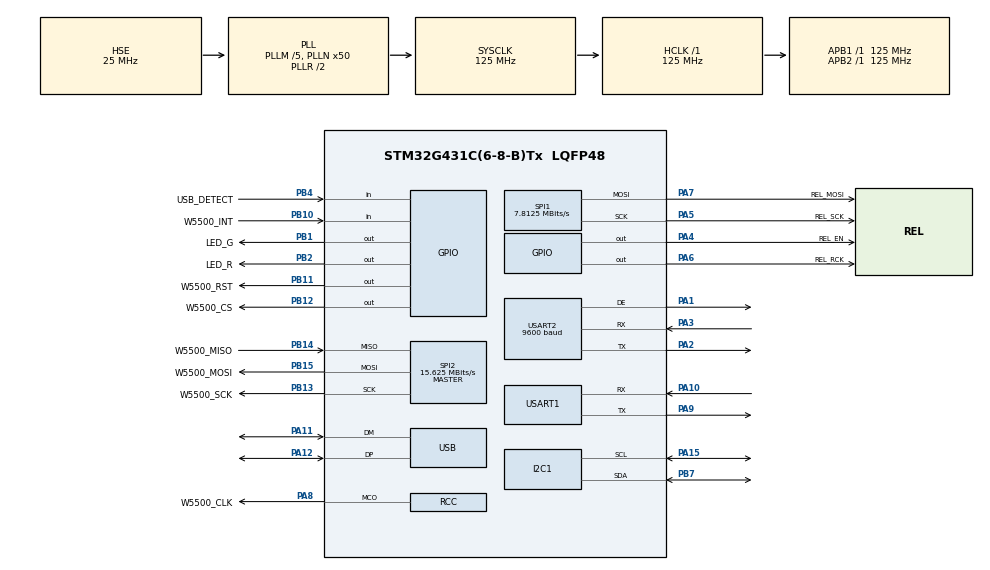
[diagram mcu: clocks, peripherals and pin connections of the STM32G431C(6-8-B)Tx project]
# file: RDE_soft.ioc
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CRC.DefaultPolynomialUse=DEFAULT_POLYNOMIAL_ENABLE
I2C1.Timing=0x20E2A4ED
Mcu.Family=STM32G4
Mcu.Name=STM32G431C(6-8-B)Tx
Mcu.Package=LQFP48
NVIC.PriorityGroup=NVIC_PRIORITYGROUP_4
NVIC.SPI1_IRQn=true\:0\:0\:false\:false\:true\:true\:true\:true
NVIC.SPI2_IRQn=true\:0\:0\:false\:false\:true\:true\:true\:true
NVIC.USB_HP_IRQn=true\:0\:0\:false\:false\:true\:true\:true\:true
NVIC.USB_LP_IRQn=true\:0\:0\:false\:false\:true\:true\:true\:true
PA1.Mode=Hardware Flow Control (RS485)
PA1.Signal=USART2_DE
PA10.Mode=Asynchronous
PA10.Signal=USART1_RX
PA11.Mode=Device
PA11.Signal=USB_DM
PA12.Mode=Device
PA12.Signal=USB_DP
PA13.Mode=Trace_Asynchronous_SW
PA13.Signal=SYS_JTMS-SWDIO
PA14.Mode=Trace_Asynchronous_SW
PA14.Signal=SYS_JTCK-SWCLK
PA15.GPIO_Speed=GPIO_SPEED_FREQ_MEDIUM
PA15.Mode=I2C
PA15.Signal=I2C1_SCL
PA2.Mode=Asynchronous
PA2.Signal=USART2_TX
PA3.Mode=Asynchronous
PA3.Signal=USART2_RX
PA4.GPIO_Label=REL_EN
PA4.Signal=GPIO_Output
PA5.GPIO_Label=REL_SCK
PA5.GPIO_Speed=GPIO_SPEED_FREQ_HIGH
PA5.Mode=TX_Only_Simplex_Unidirect_Master
PA5.Signal=SPI1_SCK
PA6.GPIO_Label=REL_RCK
PA6.Signal=GPIO_Output
PA7.GPIO_Label=REL_MOSI
PA7.GPIO_Speed=GPIO_SPEED_FREQ_HIGH
PA7.Mode=TX_Only_Simplex_Unidirect_Master
PA7.Signal=SPI1_MOSI
PA8.GPIO_Label=W5500_CLK
PA8.GPIO_Speed=GPIO_SPEED_FREQ_VERY_HIGH
PA8.Mode=Clock-out
PA8.Signal=RCC_MCO
PA9.Mode=Asynchronous
PA9.Signal=USART1_TX
PB1.GPIO_Label=LED_G
PB1.Signal=GPIO_Output
PB10.GPIO_Label=W5500_INT
PB10.Signal=GPIO_Input
PB11.GPIO_Label=W5500_RST
PB11.Signal=GPIO_Output
PB12.GPIO_Label=W5500_CS
PB12.Signal=GPIO_Output
PB13.GPIO_Label=W5500_SCK
PB13.GPIO_Speed=GPIO_SPEED_FREQ_VERY_HIGH
PB13.Mode=Full_Duplex_Master
PB13.Signal=SPI2_SCK
PB14.GPIO_Label=W5500_MISO
PB14.GPIO_Speed=GPIO_SPEED_FREQ_VERY_HIGH
PB14.Mode=Full_Duplex_Master
PB14.Signal=SPI2_MISO
PB15.GPIO_Label=W5500_MOSI
PB15.GPIO_Speed=GPIO_SPEED_FREQ_VERY_HIGH
PB15.Mode=Full_Duplex_Master
PB15.Signal=SPI2_MOSI
PB2.GPIO_Label=LED_R
PB2.Signal=GPIO_Output
PB3.Mode=Trace_Asynchronous_SW
PB3.Signal=SYS_JTDO-SWO
PB4.GPIO_Label=USB_DETECT
PB4.Signal=GPIO_Input
PB7.GPIO_Speed=GPIO_SPEED_FREQ_MEDIUM
PB7.Mode=I2C
PB7.Signal=I2C1_SDA
PF0-OSC_IN.Mode=HSE-External-Oscillator
PF0-OSC_IN.Signal=RCC_OSC_IN
PF1-OSC_OUT.Mode=HSE-External-Oscillator
PF1-OSC_OUT.Signal=RCC_OSC_OUT
ProjectManager.HeapSize=0x200
ProjectManager.StackSize=0x400
ProjectManager.TargetToolchain=STM32CubeIDE
RCC.ADC12Freq_Value=125000000
RCC.AHBFreq_Value=125000000
RCC.APB1Freq_Value=125000000
RCC.APB1TimFreq_Value=125000000
RCC.APB2Freq_Value=125000000
RCC.APB2TimFreq_Value=125000000
RCC.CK48CLockSelection=RCC_USBCLKSOURCE_HSI48
RCC.CortexFreq_Value=125000000
RCC.EXTERNAL_CLOCK_VALUE=12288000
RCC.HCLKFreq_Value=125000000
RCC.HSE_VALUE=25000000
RCC.HSI48_VALUE=48000000
RCC.HSI_VALUE=16000000
RCC.LSE_VALUE=32768
RCC.PLLM=RCC_PLLM_DIV5
RCC.PLLN=50
RCC.PLLQ=RCC_PLLQ_DIV4
RCC.PLLSourceVirtual=RCC_PLLSOURCE_HSE
RCC.RCC_MCO1Source=RCC_MCO1SOURCE_HSE
RCC.SYSCLKFreq_VALUE=125000000
RCC.SYSCLKSource=RCC_SYSCLKSOURCE_PLLCLK
RCC.USART1CLockSelection=RCC_USART1CLKSOURCE_SYSCLK
RCC.USART2CLockSelection=RCC_USART2CLKSOURCE_SYSCLK
RCC.USBFreq_Value=48000000
RCC.VCOOutputFreq_Value=250000000
SPI1.BaudRatePrescaler=SPI_BAUDRATEPRESCALER_16
SPI1.CalculateBaudRate=7.8125 MBits/s
SPI1.DataSize=SPI_DATASIZE_8BIT
SPI1.Direction=SPI_DIRECTION_2LINES
SPI1.Mode=SPI_MODE_MASTER
SPI1.VirtualType=VM_MASTER
SPI2.BaudRatePrescaler=SPI_BAUDRATEPRESCALER_8
SPI2.CalculateBaudRate=15.625 MBits/s
SPI2.DataSize=SPI_DATASIZE_8BIT
SPI2.Direction=SPI_DIRECTION_2LINES
SPI2.Mode=SPI_MODE_MASTER
SPI2.VirtualType=VM_MASTER
USART1.VirtualMode-Asynchronous=VM_ASYNC
USART2.BaudRate=9600
USART2.VirtualMode-Asynchronous=VM_ASYNC
USART2.VirtualMode-Hardware\ Flow\ Control\ (RS485)=VM_ASYNC
VP_CRC_VS_CRC.Mode=CRC_Activate
VP_SYS_VS_DBSignals.Mode=DisableDeadBatterySignals
board=custom

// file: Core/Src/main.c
/* USER CODE BEGIN Header */
/**
  ******************************************************************************
  * @file           : main.c
  * @brief          : Main program body
  ******************************************************************************
  * @attention
  *
  * Copyright (c) 2026 STMicroelectronics.
  * All rights reserved.
  *
  * This software is licensed under terms that can be found in the LICENSE file
  * in the root directory of this software component.
  * If no LICENSE file comes with this software, it is provided AS-IS.
  *
  ******************************************************************************
  */
/* USER CODE END Header */
#include "main.h"

/* USER CODE BEGIN Includes */
#include "tusb.h"
#include "scpi_def.h"
#include "usbtmc_app.h"
#include "relay/relay_ctrl.h"
#include "relay/relay_cal.h"
#include "net_config.h"
#include "w5500_net.h"
/* USER CODE END Includes */

CRC_HandleTypeDef hcrc;

I2C_HandleTypeDef hi2c1;

SPI_HandleTypeDef hspi1;
SPI_HandleTypeDef hspi2;

UART_HandleTypeDef huart1;
UART_HandleTypeDef huart2;

PCD_HandleTypeDef hpcd_USB_FS;

void SystemClock_Config(void);
static void MX_GPIO_Init(void);
static void MX_I2C1_Init(void);
static void MX_SPI1_Init(void);
static void MX_SPI2_Init(void);
static void MX_USART1_UART_Init(void);
static void MX_USART2_UART_Init(void);
static void MX_USB_PCD_Init(void);
static void MX_CRC_Init(void);

int main(void)
{

  /* MCU Configuration--------------------------------------------------------*/

  /* Reset of all peripherals, Initializes the Flash interface and the Systick. */
  HAL_Init();

  /* Configure the system clock */
  SystemClock_Config();

  /* Initialize all configured peripherals */
  MX_GPIO_Init();
  MX_I2C1_Init();
  MX_SPI1_Init();
  MX_SPI2_Init();
  MX_USART1_UART_Init();
  MX_USART2_UART_Init();
  MX_USB_PCD_Init();
  MX_CRC_Init();
  /* USER CODE BEGIN 2 */

  /* CRS: trim HSI48 via USB SOF – required for USB ±500 ppm clock accuracy */
  __HAL_RCC_CRS_CLK_ENABLE();
  RCC_CRSInitTypeDef crs_init = {0};
  crs_init.Prescaler             = RCC_CRS_SYNC_DIV1;
  crs_init.Source                = RCC_CRS_SYNC_SOURCE_USB;
  crs_init.Polarity              = RCC_CRS_SYNC_POLARITY_RISING;
  crs_init.ReloadValue           = __HAL_RCC_CRS_RELOADVALUE_CALCULATE(48000000, 1000);
  crs_init.ErrorLimitValue       = 34;
  crs_init.HSI48CalibrationValue = 32;
  HAL_RCCEx_CRSConfig(&crs_init);

  HAL_GPIO_WritePin(REL_EN_GPIO_Port, REL_EN_Pin, GPIO_PIN_RESET); /* relay PSU off – activate via relay_enable(true) */
  relay_init();
  SCPI_Main_Init();   /* init SCPI early so startup errors can be pushed to the queue */

  net_config_init();   /* load network config from NVM before w5500_net_init */
  relay_cal_init();    /* load decade calibration from NVM */

  tud_init(BOARD_TUD_RHPORT);
  tud_disconnect();   /* self-powered: do not pull D+ until VUSB detected */
  w5500_net_init();
  /* USER CODE END 2 */

  /* Infinite loop */
  while (1)
  {

    /* USER CODE BEGIN 3 */

    /* ── LED_G heartbeat – toggle every 500 ms (1 Hz blink) ── */
    static uint32_t led_tick = 0u;
    if (HAL_GetTick() - led_tick >= 500u) {
        led_tick = HAL_GetTick();
        HAL_GPIO_TogglePin(LED_G_GPIO_Port, LED_G_Pin);
    }

    /* ── LED_R error indicator – ON while SCPI error queue non-empty ── */
    /* Cleared automatically when SYST:ERR:NEXT? drains the queue or *CLS is sent */
    HAL_GPIO_WritePin(LED_R_GPIO_Port, LED_R_Pin,
                      SCPI_Main_HasErrors() ? GPIO_PIN_SET : GPIO_PIN_RESET);

    /* ── USB_DETECT – connect/disconnect D+ based on VUSB presence ── */
    /* 20 ms debounce: require stable signal before acting to avoid spurious
     * connect/disconnect on VBUS glitches. */
    static bool     usb_prev    = false;
    static bool     usb_stable  = false;
    static uint32_t usb_deb_ms  = 0;
    bool usb_raw = (HAL_GPIO_ReadPin(USB_DETECT_GPIO_Port, USB_DETECT_Pin) == GPIO_PIN_SET);
    if (usb_raw != usb_stable) {
        if (HAL_GetTick() - usb_deb_ms >= 20u) {
            usb_stable = usb_raw;
        }
    } else {
        usb_deb_ms = HAL_GetTick();
    }
    bool usb_now = usb_stable;

    if (usb_now && !usb_prev) {
        tud_connect();
    } else if (!usb_now && usb_prev) {
        tud_disconnect();
    }
    usb_prev = usb_now;

    /* ── USB tasks (only while VUSB present) ── */
    if (usb_now) {
        tud_task();
        usbtmc_app_task_iter();
    }

    SCPI_Main_Poll();
    w5500_net_task();

  }
  /* USER CODE END 3 */
}

void SystemClock_Config(void)
{
  RCC_OscInitTypeDef RCC_OscInitStruct = {0};
  RCC_ClkInitTypeDef RCC_ClkInitStruct = {0};

  /** Configure the main internal regulator output voltage
  */
  HAL_PWREx_ControlVoltageScaling(PWR_REGULATOR_VOLTAGE_SCALE1);

  /** Initializes the RCC Oscillators according to the specified parameters
  * in the RCC_OscInitTypeDef structure.
  */
  RCC_OscInitStruct.OscillatorType = RCC_OSCILLATORTYPE_HSI48|RCC_OSCILLATORTYPE_HSE;
  RCC_OscInitStruct.HSEState = RCC_HSE_ON;
  RCC_OscInitStruct.HSI48State = RCC_HSI48_ON;
  RCC_OscInitStruct.PLL.PLLState = RCC_PLL_ON;
  RCC_OscInitStruct.PLL.PLLSource = RCC_PLLSOURCE_HSE;
  RCC_OscInitStruct.PLL.PLLM = RCC_PLLM_DIV5;
  RCC_OscInitStruct.PLL.PLLN = 50;
  RCC_OscInitStruct.PLL.PLLP = RCC_PLLP_DIV2;
  RCC_OscInitStruct.PLL.PLLQ = RCC_PLLQ_DIV4;
  RCC_OscInitStruct.PLL.PLLR = RCC_PLLR_DIV2;
  if (HAL_RCC_OscConfig(&RCC_OscInitStruct) != HAL_OK)
  {
    Error_Handler();
  }

  /** Initializes the CPU, AHB and APB buses clocks
  */
  RCC_ClkInitStruct.ClockType = RCC_CLOCKTYPE_HCLK|RCC_CLOCKTYPE_SYSCLK
                              |RCC_CLOCKTYPE_PCLK1|RCC_CLOCKTYPE_PCLK2;
  RCC_ClkInitStruct.SYSCLKSource = RCC_SYSCLKSOURCE_PLLCLK;
  RCC_ClkInitStruct.AHBCLKDivider = RCC_SYSCLK_DIV1;
  RCC_ClkInitStruct.APB1CLKDivider = RCC_HCLK_DIV1;
  RCC_ClkInitStruct.APB2CLKDivider = RCC_HCLK_DIV1;

  if (HAL_RCC_ClockConfig(&RCC_ClkInitStruct, FLASH_LATENCY_4) != HAL_OK)
  {
    Error_Handler();
  }
  HAL_RCC_MCOConfig(RCC_MCO1, RCC_MCO1SOURCE_HSE, RCC_MCODIV_1);
}

static void MX_CRC_Init(void)
{

  hcrc.Instance = CRC;
  hcrc.Init.DefaultPolynomialUse = DEFAULT_POLYNOMIAL_ENABLE;
  hcrc.Init.DefaultInitValueUse = DEFAULT_INIT_VALUE_ENABLE;
  hcrc.Init.InputDataInversionMode = CRC_INPUTDATA_INVERSION_NONE;
  hcrc.Init.OutputDataInversionMode = CRC_OUTPUTDATA_INVERSION_DISABLE;
  hcrc.InputDataFormat = CRC_INPUTDATA_FORMAT_BYTES;
  if (HAL_CRC_Init(&hcrc) != HAL_OK)
  {
    Error_Handler();
  }

}

static void MX_I2C1_Init(void)
{

  hi2c1.Instance = I2C1;
  hi2c1.Init.Timing = 0x20E2A4ED;
  hi2c1.Init.OwnAddress1 = 0;
  hi2c1.Init.AddressingMode = I2C_ADDRESSINGMODE_7BIT;
  hi2c1.Init.DualAddressMode = I2C_DUALADDRESS_DISABLE;
  hi2c1.Init.OwnAddress2 = 0;
  hi2c1.Init.OwnAddress2Masks = I2C_OA2_NOMASK;
  hi2c1.Init.GeneralCallMode = I2C_GENERALCALL_DISABLE;
  hi2c1.Init.NoStretchMode = I2C_NOSTRETCH_DISABLE;
  if (HAL_I2C_Init(&hi2c1) != HAL_OK)
  {
    Error_Handler();
  }

  /** Configure Analogue filter
  */
  if (HAL_I2CEx_ConfigAnalogFilter(&hi2c1, I2C_ANALOGFILTER_ENABLE) != HAL_OK)
  {
    Error_Handler();
  }

  /** Configure Digital filter
  */
  if (HAL_I2CEx_ConfigDigitalFilter(&hi2c1, 0) != HAL_OK)
  {
    Error_Handler();
  }

}

static void MX_SPI1_Init(void)
{

  /* SPI1 parameter configuration*/
  hspi1.Instance = SPI1;
  hspi1.Init.Mode = SPI_MODE_MASTER;
  hspi1.Init.Direction = SPI_DIRECTION_2LINES;
  hspi1.Init.DataSize = SPI_DATASIZE_8BIT;
  hspi1.Init.CLKPolarity = SPI_POLARITY_LOW;
  hspi1.Init.CLKPhase = SPI_PHASE_1EDGE;
  hspi1.Init.NSS = SPI_NSS_SOFT;
  hspi1.Init.BaudRatePrescaler = SPI_BAUDRATEPRESCALER_16;
  hspi1.Init.FirstBit = SPI_FIRSTBIT_MSB;
  hspi1.Init.TIMode = SPI_TIMODE_DISABLE;
  hspi1.Init.CRCCalculation = SPI_CRCCALCULATION_DISABLE;
  hspi1.Init.CRCPolynomial = 7;
  hspi1.Init.CRCLength = SPI_CRC_LENGTH_DATASIZE;
  hspi1.Init.NSSPMode = SPI_NSS_PULSE_ENABLE;
  if (HAL_SPI_Init(&hspi1) != HAL_OK)
  {
    Error_Handler();
  }

}

static void MX_SPI2_Init(void)
{

  /* SPI2 parameter configuration*/
  hspi2.Instance = SPI2;
  hspi2.Init.Mode = SPI_MODE_MASTER;
  hspi2.Init.Direction = SPI_DIRECTION_2LINES;
  hspi2.Init.DataSize = SPI_DATASIZE_8BIT;
  hspi2.Init.CLKPolarity = SPI_POLARITY_LOW;
  hspi2.Init.CLKPhase = SPI_PHASE_1EDGE;
  hspi2.Init.NSS = SPI_NSS_SOFT;
  hspi2.Init.BaudRatePrescaler = SPI_BAUDRATEPRESCALER_8;
  hspi2.Init.FirstBit = SPI_FIRSTBIT_MSB;
  hspi2.Init.TIMode = SPI_TIMODE_DISABLE;
  hspi2.Init.CRCCalculation = SPI_CRCCALCULATION_DISABLE;
  hspi2.Init.CRCPolynomial = 7;
  hspi2.Init.CRCLength = SPI_CRC_LENGTH_DATASIZE;
  hspi2.Init.NSSPMode = SPI_NSS_PULSE_ENABLE;
  if (HAL_SPI_Init(&hspi2) != HAL_OK)
  {
    Error_Handler();
  }

}

static void MX_USART1_UART_Init(void)
{

  huart1.Instance = USART1;
  huart1.Init.BaudRate = 115200;
  huart1.Init.WordLength = UART_WORDLENGTH_8B;
  huart1.Init.StopBits = UART_STOPBITS_1;
  huart1.Init.Parity = UART_PARITY_NONE;
  huart1.Init.Mode = UART_MODE_TX_RX;
  huart1.Init.HwFlowCtl = UART_HWCONTROL_NONE;
  huart1.Init.OverSampling = UART_OVERSAMPLING_16;
  huart1.Init.OneBitSampling = UART_ONE_BIT_SAMPLE_DISABLE;
  huart1.Init.ClockPrescaler = UART_PRESCALER_DIV1;
  huart1.AdvancedInit.AdvFeatureInit = UART_ADVFEATURE_NO_INIT;
  if (HAL_UART_Init(&huart1) != HAL_OK)
  {
    Error_Handler();
  }
  if (HAL_UARTEx_SetTxFifoThreshold(&huart1, UART_TXFIFO_THRESHOLD_1_8) != HAL_OK)
  {
    Error_Handler();
  }
  if (HAL_UARTEx_SetRxFifoThreshold(&huart1, UART_RXFIFO_THRESHOLD_1_8) != HAL_OK)
  {
    Error_Handler();
  }
  if (HAL_UARTEx_DisableFifoMode(&huart1) != HAL_OK)
  {
    Error_Handler();
  }

}

static void MX_USART2_UART_Init(void)
{

  huart2.Instance = USART2;
  huart2.Init.BaudRate = 9600;
  huart2.Init.WordLength = UART_WORDLENGTH_8B;
  huart2.Init.StopBits = UART_STOPBITS_1;
  huart2.Init.Parity = UART_PARITY_NONE;
  huart2.Init.Mode = UART_MODE_TX_RX;
  huart2.Init.HwFlowCtl = UART_HWCONTROL_NONE;
  huart2.Init.OverSampling = UART_OVERSAMPLING_16;
  huart2.Init.OneBitSampling = UART_ONE_BIT_SAMPLE_DISABLE;
  huart2.Init.ClockPrescaler = UART_PRESCALER_DIV1;
  huart2.AdvancedInit.AdvFeatureInit = UART_ADVFEATURE_NO_INIT;
  if (HAL_RS485Ex_Init(&huart2, UART_DE_POLARITY_HIGH, 0, 0) != HAL_OK)
  {
    Error_Handler();
  }
  if (HAL_UARTEx_SetTxFifoThreshold(&huart2, UART_TXFIFO_THRESHOLD_1_8) != HAL_OK)
  {
    Error_Handler();
  }
  if (HAL_UARTEx_SetRxFifoThreshold(&huart2, UART_RXFIFO_THRESHOLD_1_8) != HAL_OK)
  {
    Error_Handler();
  }
  if (HAL_UARTEx_DisableFifoMode(&huart2) != HAL_OK)
  {
    Error_Handler();
  }

}

static void MX_USB_PCD_Init(void)
{

  hpcd_USB_FS.Instance = USB;
  hpcd_USB_FS.Init.dev_endpoints = 8;
  hpcd_USB_FS.Init.speed = PCD_SPEED_FULL;
  hpcd_USB_FS.Init.phy_itface = PCD_PHY_EMBEDDED;
  hpcd_USB_FS.Init.Sof_enable = DISABLE;
  hpcd_USB_FS.Init.low_power_enable = DISABLE;
  hpcd_USB_FS.Init.lpm_enable = DISABLE;
  hpcd_USB_FS.Init.battery_charging_enable = DISABLE;
  if (HAL_PCD_Init(&hpcd_USB_FS) != HAL_OK)
  {
    Error_Handler();
  }

}

static void MX_GPIO_Init(void)
{
  GPIO_InitTypeDef GPIO_InitStruct = {0};

  /* GPIO Ports Clock Enable */
  __HAL_RCC_GPIOF_CLK_ENABLE();
  __HAL_RCC_GPIOA_CLK_ENABLE();
  __HAL_RCC_GPIOB_CLK_ENABLE();

  /*Configure GPIO pin Output Level */
  HAL_GPIO_WritePin(GPIOA, REL_EN_Pin|REL_RCK_Pin, GPIO_PIN_RESET);

  /*Configure GPIO pin Output Level */
  HAL_GPIO_WritePin(GPIOB, LED_G_Pin|LED_R_Pin|W5500_RST_Pin|W5500_CS_Pin, GPIO_PIN_RESET);

  /*Configure GPIO pins : REL_EN_Pin REL_RCK_Pin */
  GPIO_InitStruct.Pin = REL_EN_Pin|REL_RCK_Pin;
  GPIO_InitStruct.Mode = GPIO_MODE_OUTPUT_PP;
  GPIO_InitStruct.Pull = GPIO_NOPULL;
  GPIO_InitStruct.Speed = GPIO_SPEED_FREQ_LOW;
  HAL_GPIO_Init(GPIOA, &GPIO_InitStruct);

  /*Configure GPIO pins : LED_G_Pin LED_R_Pin W5500_RST_Pin W5500_CS_Pin */
  GPIO_InitStruct.Pin = LED_G_Pin|LED_R_Pin|W5500_RST_Pin|W5500_CS_Pin;
  GPIO_InitStruct.Mode = GPIO_MODE_OUTPUT_PP;
  GPIO_InitStruct.Pull = GPIO_NOPULL;
  GPIO_InitStruct.Speed = GPIO_SPEED_FREQ_LOW;
  HAL_GPIO_Init(GPIOB, &GPIO_InitStruct);

  /*Configure GPIO pins : W5500_INT_Pin USB_DETECT_Pin */
  GPIO_InitStruct.Pin = W5500_INT_Pin|USB_DETECT_Pin;
  GPIO_InitStruct.Mode = GPIO_MODE_INPUT;
  GPIO_InitStruct.Pull = GPIO_NOPULL;
  HAL_GPIO_Init(GPIOB, &GPIO_InitStruct);

  /*Configure GPIO pin : W5500_CLK_Pin */
  GPIO_InitStruct.Pin = W5500_CLK_Pin;
  GPIO_InitStruct.Mode = GPIO_MODE_AF_PP;
  GPIO_InitStruct.Pull = GPIO_NOPULL;
  GPIO_InitStruct.Speed = GPIO_SPEED_FREQ_VERY_HIGH;
  GPIO_InitStruct.Alternate = GPIO_AF0_MCO;
  HAL_GPIO_Init(W5500_CLK_GPIO_Port, &GPIO_InitStruct);

}

void Error_Handler(void)
{
  __disable_irq();
  while (1)
  {
  }
}
